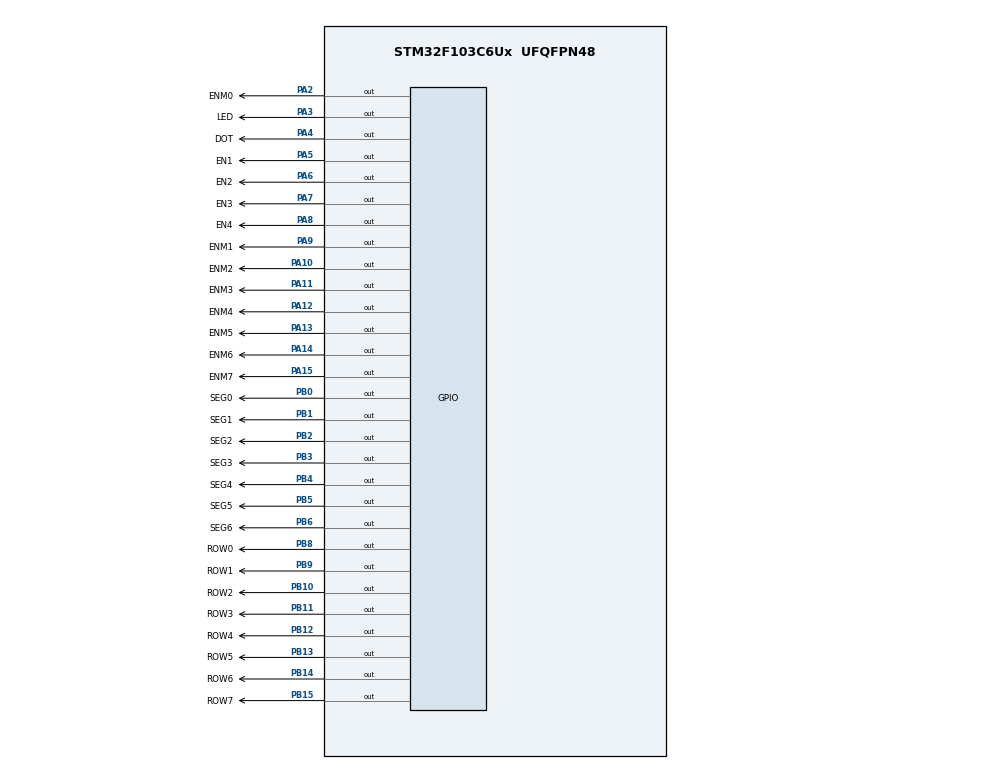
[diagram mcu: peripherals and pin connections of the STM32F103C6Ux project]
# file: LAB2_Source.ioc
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Mcu.Family=STM32F1
Mcu.Name=STM32F103C6Ux
Mcu.Package=UFQFPN48
NVIC.PriorityGroup=NVIC_PRIORITYGROUP_4
NVIC.TIM2_IRQn=true\:0\:0\:false\:false\:true\:true\:true
PA10.GPIO_Label=ENM2
PA10.Signal=GPIO_Output
PA11.GPIO_Label=ENM3
PA11.Signal=GPIO_Output
PA12.GPIO_Label=ENM4
PA12.Signal=GPIO_Output
PA13.GPIO_Label=ENM5
PA13.Signal=GPIO_Output
PA14.GPIO_Label=ENM6
PA14.Signal=GPIO_Output
PA15.GPIO_Label=ENM7
PA15.Signal=GPIO_Output
PA2.GPIO_Label=ENM0
PA2.Signal=GPIO_Output
PA3.GPIO_Label=LED
PA3.Signal=GPIO_Output
PA4.GPIO_Label=DOT
PA4.Signal=GPIO_Output
PA5.GPIO_Label=EN1
PA5.Signal=GPIO_Output
PA6.GPIO_Label=EN2
PA6.Signal=GPIO_Output
PA7.GPIO_Label=EN3
PA7.Signal=GPIO_Output
PA8.GPIO_Label=EN4
PA8.Signal=GPIO_Output
PA9.GPIO_Label=ENM1
PA9.Signal=GPIO_Output
PB0.GPIO_Label=SEG0
PB0.Signal=GPIO_Output
PB1.GPIO_Label=SEG1
PB1.Signal=GPIO_Output
PB10.GPIO_Label=ROW2
PB10.Signal=GPIO_Output
PB11.GPIO_Label=ROW3
PB11.Signal=GPIO_Output
PB12.GPIO_Label=ROW4
PB12.Signal=GPIO_Output
PB13.GPIO_Label=ROW5
PB13.Signal=GPIO_Output
PB14.GPIO_Label=ROW6
PB14.Signal=GPIO_Output
PB15.GPIO_Label=ROW7
PB15.Signal=GPIO_Output
PB2.GPIO_Label=SEG2
PB2.Signal=GPIO_Output
PB3.GPIO_Label=SEG3
PB3.Signal=GPIO_Output
PB4.GPIO_Label=SEG4
PB4.Signal=GPIO_Output
PB5.GPIO_Label=SEG5
PB5.Signal=GPIO_Output
PB6.GPIO_Label=SEG6
PB6.Signal=GPIO_Output
PB8.GPIO_Label=ROW0
PB8.Signal=GPIO_Output
PB9.GPIO_Label=ROW1
PB9.Signal=GPIO_Output
ProjectManager.HeapSize=0x200
ProjectManager.StackSize=0x400
ProjectManager.TargetToolchain=STM32CubeIDE
RCC.APB1Freq_Value=8000000
RCC.APB2Freq_Value=8000000
TIM2.Period=9
TIM2.Prescaler=7999
VP_SYS_VS_ND.Mode=No_Debug
VP_TIM2_VS_ClockSourceINT.Mode=Internal
board=custom

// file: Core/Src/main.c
/* USER CODE BEGIN Header */
/**
  ******************************************************************************
  * @file           : main.c
  * @brief          : Main program body
  ******************************************************************************
  * @attention
  *
  * <h2><center>&copy; Copyright (c) 2025 STMicroelectronics.
  * All rights reserved.</center></h2>
  *
  * This software component is licensed by ST under BSD 3-Clause license,
  * the "License"; You may not use this file except in compliance with the
  * License. You may obtain a copy of the License at:
  *                        opensource.org/licenses/BSD-3-Clause
  *
  ******************************************************************************
  */
/* USER CODE END Header */
#include "main.h"
#include "timer.h"

TIM_HandleTypeDef htim2;

void SystemClock_Config(void);
static void MX_GPIO_Init(void);
static void MX_TIM2_Init(void);

/* USER CODE BEGIN 0 */

int clock_buffer[4];
int hour = 15, minute = 8, second = 50;
void display7SEG(int num)
  {
  	  switch(num)
  	  {
  	  case 0:
  	  	  {
  	  		  HAL_GPIO_WritePin(SEG0_GPIO_Port, SEG0_Pin, RESET);
  	  		  HAL_GPIO_WritePin(SEG1_GPIO_Port, SEG1_Pin, RESET);
  	  		  HAL_GPIO_WritePin(SEG2_GPIO_Port, SEG2_Pin, RESET);
  	  		  HAL_GPIO_WritePin(SEG3_GPIO_Port, SEG3_Pin, RESET);
  	  		  HAL_GPIO_WritePin(SEG4_GPIO_Port, SEG4_Pin, RESET);
  	  		  HAL_GPIO_WritePin(SEG5_GPIO_Port, SEG5_Pin, RESET);
  	  		  HAL_GPIO_WritePin(SEG6_GPIO_Port, SEG6_Pin, SET);
  	  		  break;
  	  	  }
  	  case 1:
  	  	  {
  	  		  HAL_GPIO_WritePin(SEG0_GPIO_Port, SEG0_Pin, SET);
  	  		  HAL_GPIO_WritePin(SEG1_GPIO_Port, SEG1_Pin, RESET);
  	  		  HAL_GPIO_WritePin(SEG2_GPIO_Port, SEG2_Pin, RESET);
  	  		  HAL_GPIO_WritePin(SEG3_GPIO_Port, SEG3_Pin, SET);
  	  		  HAL_GPIO_WritePin(SEG4_GPIO_Port, SEG4_Pin, SET);
  	  		  HAL_GPIO_WritePin(SEG5_GPIO_Port, SEG5_Pin, SET);
  	  		  HAL_GPIO_WritePin(SEG6_GPIO_Port, SEG6_Pin, SET);
  	  		  break;
  	  	  }
  	  case 2:
  	  	  {
  	  		  HAL_GPIO_WritePin(SEG0_GPIO_Port, SEG0_Pin, RESET);
  	  		  HAL_GPIO_WritePin(SEG1_GPIO_Port, SEG1_Pin, RESET);
  	  		  HAL_GPIO_WritePin(SEG2_GPIO_Port, SEG2_Pin, SET);
  	  		  HAL_GPIO_WritePin(SEG3_GPIO_Port, SEG3_Pin, RESET);
  	  		  HAL_GPIO_WritePin(SEG4_GPIO_Port, SEG4_Pin, RESET);
  	  		  HAL_GPIO_WritePin(SEG5_GPIO_Port, SEG5_Pin, SET);
  	  		  HAL_GPIO_WritePin(SEG6_GPIO_Port, SEG6_Pin, RESET);
  	  		  break;
  	  	  }
  	  case 3:
  	  	  {
  	  		  HAL_GPIO_WritePin(SEG0_GPIO_Port, SEG0_Pin, RESET);
  	  		  HAL_GPIO_WritePin(SEG1_GPIO_Port, SEG1_Pin, RESET);
  	  		  HAL_GPIO_WritePin(SEG2_GPIO_Port, SEG2_Pin, RESET);
  	  		  HAL_GPIO_WritePin(SEG3_GPIO_Port, SEG3_Pin, RESET);
  	  		  HAL_GPIO_WritePin(SEG4_GPIO_Port, SEG4_Pin, SET);
  	  		  HAL_GPIO_WritePin(SEG5_GPIO_Port, SEG5_Pin, SET);
  	  		  HAL_GPIO_WritePin(SEG6_GPIO_Port, SEG6_Pin, RESET);
  	  		  break;
  	  	  }
  	  case 4:
  	  	  {
  	  		  HAL_GPIO_WritePin(SEG0_GPIO_Port, SEG0_Pin, SET);
  	  		  HAL_GPIO_WritePin(SEG1_GPIO_Port, SEG1_Pin, RESET);
  	  		  HAL_GPIO_WritePin(SEG2_GPIO_Port, SEG2_Pin, RESET);
  	  		  HAL_GPIO_WritePin(SEG3_GPIO_Port, SEG3_Pin, SET);
  	  		  HAL_GPIO_WritePin(SEG4_GPIO_Port, SEG4_Pin, SET);
  	  		  HAL_GPIO_WritePin(SEG5_GPIO_Port, SEG5_Pin, RESET);
  	  		  HAL_GPIO_WritePin(SEG6_GPIO_Port, SEG6_Pin, RESET);
  	  		  break;
  	  	  }
  	  case 5:
  	  	  {
  	  		  HAL_GPIO_WritePin(SEG0_GPIO_Port, SEG0_Pin, RESET);
  	  		  HAL_GPIO_WritePin(SEG1_GPIO_Port, SEG1_Pin, SET);
  	  		  HAL_GPIO_WritePin(SEG2_GPIO_Port, SEG2_Pin, RESET);
  	  		  HAL_GPIO_WritePin(SEG3_GPIO_Port, SEG3_Pin, RESET);
  	  		  HAL_GPIO_WritePin(SEG4_GPIO_Port, SEG4_Pin, SET);
  	  		  HAL_GPIO_WritePin(SEG5_GPIO_Port, SEG5_Pin, RESET);
  	  		  HAL_GPIO_WritePin(SEG6_GPIO_Port, SEG6_Pin, RESET);
  	  		  break;
  	  	  }
  	  case 6:
  	  	  {
  	  		  HAL_GPIO_WritePin(SEG0_GPIO_Port, SEG0_Pin, RESET);
  	  		  HAL_GPIO_WritePin(SEG1_GPIO_Port, SEG1_Pin, SET);
  	  		  HAL_GPIO_WritePin(SEG2_GPIO_Port, SEG2_Pin, RESET);
  	  		  HAL_GPIO_WritePin(SEG3_GPIO_Port, SEG3_Pin, RESET);
  	  		  HAL_GPIO_WritePin(SEG4_GPIO_Port, SEG4_Pin, RESET);
  	  		  HAL_GPIO_WritePin(SEG5_GPIO_Port, SEG5_Pin, RESET);
  	  		  HAL_GPIO_WritePin(SEG6_GPIO_Port, SEG6_Pin, RESET);
  	  		  break;
  	  	  }
  	  case 7:
  	  	  {
  	  		  HAL_GPIO_WritePin(SEG0_GPIO_Port, SEG0_Pin, RESET);
  	  		  HAL_GPIO_WritePin(SEG1_GPIO_Port, SEG1_Pin, RESET);
  	  		  HAL_GPIO_WritePin(SEG2_GPIO_Port, SEG2_Pin, RESET);
  	  		  HAL_GPIO_WritePin(SEG3_GPIO_Port, SEG3_Pin, SET);
  	  		  HAL_GPIO_WritePin(SEG4_GPIO_Port, SEG4_Pin, SET);
  	  		  HAL_GPIO_WritePin(SEG5_GPIO_Port, SEG5_Pin, SET);
  	  		  HAL_GPIO_WritePin(SEG6_GPIO_Port, SEG6_Pin, SET);
  	  		  break;
  	  	  }
  	  case 8:
  	  	  {
  	  		  HAL_GPIO_WritePin(SEG0_GPIO_Port, SEG0_Pin, RESET);
  	  		  HAL_GPIO_WritePin(SEG1_GPIO_Port, SEG1_Pin, RESET);
  	  		  HAL_GPIO_WritePin(SEG2_GPIO_Port, SEG2_Pin, RESET);
  	  		  HAL_GPIO_WritePin(SEG3_GPIO_Port, SEG3_Pin, RESET);
  	  		  HAL_GPIO_WritePin(SEG4_GPIO_Port, SEG4_Pin, RESET);
  	  		  HAL_GPIO_WritePin(SEG5_GPIO_Port, SEG5_Pin, RESET);
  	  		  HAL_GPIO_WritePin(SEG6_GPIO_Port, SEG6_Pin, RESET);
  	  		  break;
  	  	  }
  	  case 9:
  	  	  {
  	  		  HAL_GPIO_WritePin(SEG0_GPIO_Port, SEG0_Pin, RESET);
  	  		  HAL_GPIO_WritePin(SEG1_GPIO_Port, SEG1_Pin, RESET);
  	  		  HAL_GPIO_WritePin(SEG2_GPIO_Port, SEG2_Pin, RESET);
  	  		  HAL_GPIO_WritePin(SEG3_GPIO_Port, SEG3_Pin, RESET);
  	  		  HAL_GPIO_WritePin(SEG4_GPIO_Port, SEG4_Pin, SET);
  	  		  HAL_GPIO_WritePin(SEG5_GPIO_Port, SEG5_Pin, RESET);
  	  		  HAL_GPIO_WritePin(SEG6_GPIO_Port, SEG6_Pin, RESET);
  	  		  break;
  	  	  }
  	  }
  }
void update7SEG(int index)
{
	switch(index)
	{
		case 0:
		{
			HAL_GPIO_WritePin(EN1_GPIO_Port, EN1_Pin, RESET);
			HAL_GPIO_WritePin(EN2_GPIO_Port, EN2_Pin, SET);
			HAL_GPIO_WritePin(EN3_GPIO_Port, EN3_Pin, SET);
			HAL_GPIO_WritePin(EN4_GPIO_Port, EN4_Pin, SET);
			display7SEG(clock_buffer[0]);
			break;
		}
		case 1:
		{
			HAL_GPIO_WritePin(EN1_GPIO_Port, EN1_Pin, SET);
			HAL_GPIO_WritePin(EN2_GPIO_Port, EN2_Pin, RESET);
			HAL_GPIO_WritePin(EN3_GPIO_Port, EN3_Pin, SET);
			HAL_GPIO_WritePin(EN4_GPIO_Port, EN4_Pin, SET);
			display7SEG(clock_buffer[1]);
			break;
		}
		case 2:
		{
			HAL_GPIO_WritePin(EN1_GPIO_Port, EN1_Pin, SET);
			HAL_GPIO_WritePin(EN2_GPIO_Port, EN2_Pin, SET);
			HAL_GPIO_WritePin(EN3_GPIO_Port, EN3_Pin, RESET);
			HAL_GPIO_WritePin(EN4_GPIO_Port, EN4_Pin, SET);
			display7SEG(clock_buffer[2]);
			break;
		}
		case 3:
		{
			HAL_GPIO_WritePin(EN1_GPIO_Port, EN1_Pin, SET);
			HAL_GPIO_WritePin(EN2_GPIO_Port, EN2_Pin, SET);
			HAL_GPIO_WritePin(EN3_GPIO_Port, EN3_Pin, SET);
			HAL_GPIO_WritePin(EN4_GPIO_Port, EN4_Pin, RESET);
			display7SEG(clock_buffer[3]);
			break;
		}
		default:
		{
			break;
		}
	}
}

void updateClockBuffer()
{
	  if((hour / 10) == 0)
	  {
		  clock_buffer[0] = 0;
		  clock_buffer[1] = hour;
	  }
	  else
	  {
		  clock_buffer[0] = hour / 10;
		  clock_buffer[1] = hour % 10;
	  }
	  if((minute / 10) == 0)
	  {
		  clock_buffer[2] = 0;
		  clock_buffer[3] = minute;
	  }
	  else
	  {
		  clock_buffer[2] = minute / 10;
		  clock_buffer[3] = minute % 10;
	  }
}
const int MAX_LED_MATRIX = 8;
int index_matrix_led = 0;
uint8_t matrix_buffer[8] = {0xff, 0x1, 0x0, 0xce, 0xce, 0x0, 0x1, 0xff};
/*
 *	1 1 0 0 0 0 1 1
 *	1 0 0 1 1 0 0 1
 *	1 0 0 1 1 0 0 1
 *	1 0 0 1 1 0 0 1
 *	1 0 0 0 0 0 0 1
 *	1 0 0 0 0 0 0 1
 *	1 0 0 1 1 0 0 1
 *	1 0 0 1 1 0 0 1
 */
int index = 0;
void setRow()
{
	GPIOB -> ODR &= 0x00ff;
	GPIOB -> ODR += (matrix_buffer[index] << 8);
	index = (index + 1) % MAX_LED_MATRIX;
}
void shiftLeft()
{
	uint8_t tmp = matrix_buffer[0];
	matrix_buffer[0] = matrix_buffer[1];
	matrix_buffer[1] = matrix_buffer[2];
	matrix_buffer[1] = matrix_buffer[3];
	matrix_buffer[2] = matrix_buffer[4];
	matrix_buffer[3] = matrix_buffer[5];
	matrix_buffer[4] = matrix_buffer[6];
	matrix_buffer[5] = matrix_buffer[7];
	matrix_buffer[6] = matrix_buffer[7];
	matrix_buffer[7] = tmp;
}
void resetMatrix()
{
	HAL_GPIO_WritePin(ENM0_GPIO_Port, ENM0_Pin, SET);
	HAL_GPIO_WritePin(ENM1_GPIO_Port, ENM1_Pin, SET);
	HAL_GPIO_WritePin(ENM2_GPIO_Port, ENM2_Pin, SET);
	HAL_GPIO_WritePin(ENM3_GPIO_Port, ENM3_Pin, SET);
	HAL_GPIO_WritePin(ENM4_GPIO_Port, ENM4_Pin, SET);
	HAL_GPIO_WritePin(ENM5_GPIO_Port, ENM5_Pin, SET);
	HAL_GPIO_WritePin(ENM6_GPIO_Port, ENM6_Pin, SET);
	HAL_GPIO_WritePin(ENM7_GPIO_Port, ENM7_Pin, SET);
}
void updateLEDMatrix(int index_matrix_led)
{
	resetMatrix();
	setRow();
	switch(index_matrix_led)
	{
		case 0:
		{
			HAL_GPIO_WritePin(ENM0_GPIO_Port, ENM0_Pin, RESET);
			break;
		}
		case 1:
		{
			HAL_GPIO_WritePin(ENM1_GPIO_Port, ENM1_Pin, RESET);
			break;
		}
		case 2:
		{
			HAL_GPIO_WritePin(ENM2_GPIO_Port, ENM2_Pin, RESET);
			break;
		}
		case 3:
		{
			HAL_GPIO_WritePin(ENM3_GPIO_Port, ENM3_Pin, RESET);
			break;
		}
		case 4:
		{
			HAL_GPIO_WritePin(ENM4_GPIO_Port, ENM4_Pin, RESET);
			break;
		}
		case 5:
		{
			HAL_GPIO_WritePin(ENM5_GPIO_Port, ENM5_Pin, RESET);
			break;
		}
		case 6:
		{
			HAL_GPIO_WritePin(ENM6_GPIO_Port, ENM6_Pin, RESET);
			break;
		}
		case 7:
		{
			HAL_GPIO_WritePin(ENM7_GPIO_Port, ENM7_Pin, RESET);
			break;
		}
		default:
		{
			break;
		}
	}
}
/* USER CODE END 0 */

int main(void)
{

  /* MCU Configuration--------------------------------------------------------*/

  /* Reset of all peripherals, Initializes the Flash interface and the Systick. */
  HAL_Init();

  /* Configure the system clock */
  SystemClock_Config();

  /* Initialize all configured peripherals */
  MX_GPIO_Init();
  MX_TIM2_Init();
  /* USER CODE BEGIN 2 */
  HAL_TIM_Base_Start_IT(&htim2);
  /* USER CODE END 2 */

  /* Infinite loop */
  /* USER CODE BEGIN WHILE */
  int index_led = 0;
  setTimer0(1000);
  setTimer1(3);
  resetMatrix();
  while (1)
  {
	  if(timer0_flag == 1)
	  {
		second++;
		if(second >= 60)
		{
			second = 0;
			minute++;
		}
		if(minute >= 60)
		{
			minute = 0;
			hour++;
		}
		if(hour >= 24)
		{
			hour = 0;
		}
		updateClockBuffer();
		HAL_GPIO_TogglePin(DOT_GPIO_Port, DOT_Pin);
		if(index_led >= 4)
		{
			index_led = 0;
		}
		update7SEG(index_led++);
		HAL_GPIO_TogglePin(LED_GPIO_Port, LED_Pin);
		setTimer0(1000);
	  }
	  if(timer1_flag == 1)
	  {
		  setTimer1(3);
		  if(index_matrix_led >= MAX_LED_MATRIX)
		  {
			  index_matrix_led = 0;
			  shiftLeft();
		  }
		  updateLEDMatrix(index_matrix_led++);
	  }

    /* USER CODE END WHILE */

  }
}

void SystemClock_Config(void)
{
  RCC_OscInitTypeDef RCC_OscInitStruct = {0};
  RCC_ClkInitTypeDef RCC_ClkInitStruct = {0};

  /** Initializes the RCC Oscillators according to the specified parameters
  * in the RCC_OscInitTypeDef structure.
  */
  RCC_OscInitStruct.OscillatorType = RCC_OSCILLATORTYPE_HSI;
  RCC_OscInitStruct.HSIState = RCC_HSI_ON;
  RCC_OscInitStruct.HSICalibrationValue = RCC_HSICALIBRATION_DEFAULT;
  RCC_OscInitStruct.PLL.PLLState = RCC_PLL_NONE;
  if (HAL_RCC_OscConfig(&RCC_OscInitStruct) != HAL_OK)
  {
    Error_Handler();
  }
  /** Initializes the CPU, AHB and APB buses clocks
  */
  RCC_ClkInitStruct.ClockType = RCC_CLOCKTYPE_HCLK|RCC_CLOCKTYPE_SYSCLK
                              |RCC_CLOCKTYPE_PCLK1|RCC_CLOCKTYPE_PCLK2;
  RCC_ClkInitStruct.SYSCLKSource = RCC_SYSCLKSOURCE_HSI;
  RCC_ClkInitStruct.AHBCLKDivider = RCC_SYSCLK_DIV1;
  RCC_ClkInitStruct.APB1CLKDivider = RCC_HCLK_DIV1;
  RCC_ClkInitStruct.APB2CLKDivider = RCC_HCLK_DIV1;

  if (HAL_RCC_ClockConfig(&RCC_ClkInitStruct, FLASH_LATENCY_0) != HAL_OK)
  {
    Error_Handler();
  }
}

static void MX_TIM2_Init(void)
{

  TIM_ClockConfigTypeDef sClockSourceConfig = {0};
  TIM_MasterConfigTypeDef sMasterConfig = {0};

  htim2.Instance = TIM2;
  htim2.Init.Prescaler = 7999;
  htim2.Init.CounterMode = TIM_COUNTERMODE_UP;
  htim2.Init.Period = 9;
  htim2.Init.ClockDivision = TIM_CLOCKDIVISION_DIV1;
  htim2.Init.AutoReloadPreload = TIM_AUTORELOAD_PRELOAD_DISABLE;
  if (HAL_TIM_Base_Init(&htim2) != HAL_OK)
  {
    Error_Handler();
  }
  sClockSourceConfig.ClockSource = TIM_CLOCKSOURCE_INTERNAL;
  if (HAL_TIM_ConfigClockSource(&htim2, &sClockSourceConfig) != HAL_OK)
  {
    Error_Handler();
  }
  sMasterConfig.MasterOutputTrigger = TIM_TRGO_RESET;
  sMasterConfig.MasterSlaveMode = TIM_MASTERSLAVEMODE_DISABLE;
  if (HAL_TIMEx_MasterConfigSynchronization(&htim2, &sMasterConfig) != HAL_OK)
  {
    Error_Handler();
  }

}

static void MX_GPIO_Init(void)
{
  GPIO_InitTypeDef GPIO_InitStruct = {0};

  /* GPIO Ports Clock Enable */
  __HAL_RCC_GPIOA_CLK_ENABLE();
  __HAL_RCC_GPIOB_CLK_ENABLE();

  /*Configure GPIO pin Output Level */
  HAL_GPIO_WritePin(GPIOA, ENM0_Pin|LED_Pin|DOT_Pin|EN1_Pin
                          |EN2_Pin|EN3_Pin|EN4_Pin|ENM1_Pin
                          |ENM2_Pin|ENM3_Pin|ENM4_Pin|ENM5_Pin
                          |ENM6_Pin|ENM7_Pin, GPIO_PIN_RESET);

  /*Configure GPIO pin Output Level */
  HAL_GPIO_WritePin(GPIOB, SEG0_Pin|SEG1_Pin|SEG2_Pin|ROW2_Pin
                          |ROW3_Pin|ROW4_Pin|ROW5_Pin|ROW6_Pin
                          |ROW7_Pin|SEG3_Pin|SEG4_Pin|SEG5_Pin
                          |SEG6_Pin|ROW0_Pin|ROW1_Pin, GPIO_PIN_RESET);

  /*Configure GPIO pins : ENM0_Pin LED_Pin DOT_Pin EN1_Pin
                           EN2_Pin EN3_Pin EN4_Pin ENM1_Pin
                           ENM2_Pin ENM3_Pin ENM4_Pin ENM5_Pin
                           ENM6_Pin ENM7_Pin */
  GPIO_InitStruct.Pin = ENM0_Pin|LED_Pin|DOT_Pin|EN1_Pin
                          |EN2_Pin|EN3_Pin|EN4_Pin|ENM1_Pin
                          |ENM2_Pin|ENM3_Pin|ENM4_Pin|ENM5_Pin
                          |ENM6_Pin|ENM7_Pin;
  GPIO_InitStruct.Mode = GPIO_MODE_OUTPUT_PP;
  GPIO_InitStruct.Pull = GPIO_NOPULL;
  GPIO_InitStruct.Speed = GPIO_SPEED_FREQ_LOW;
  HAL_GPIO_Init(GPIOA, &GPIO_InitStruct);

  /*Configure GPIO pins : SEG0_Pin SEG1_Pin SEG2_Pin ROW2_Pin
                           ROW3_Pin ROW4_Pin ROW5_Pin ROW6_Pin
                           ROW7_Pin SEG3_Pin SEG4_Pin SEG5_Pin
                           SEG6_Pin ROW0_Pin ROW1_Pin */
  GPIO_InitStruct.Pin = SEG0_Pin|SEG1_Pin|SEG2_Pin|ROW2_Pin
                          |ROW3_Pin|ROW4_Pin|ROW5_Pin|ROW6_Pin
                          |ROW7_Pin|SEG3_Pin|SEG4_Pin|SEG5_Pin
                          |SEG6_Pin|ROW0_Pin|ROW1_Pin;
  GPIO_InitStruct.Mode = GPIO_MODE_OUTPUT_PP;
  GPIO_InitStruct.Pull = GPIO_NOPULL;
  GPIO_InitStruct.Speed = GPIO_SPEED_FREQ_LOW;
  HAL_GPIO_Init(GPIOB, &GPIO_InitStruct);

}

/* USER CODE BEGIN 4 */
void HAL_TIM_PeriodElapsedCallback(TIM_HandleTypeDef *htim)
{
	timer_run();
}
/* USER CODE END 4 */

void Error_Handler(void)
{
  __disable_irq();
  while (1)
  {
  }
}

/************************ (C) COPYRIGHT STMicroelectronics *****END OF FILE****/
